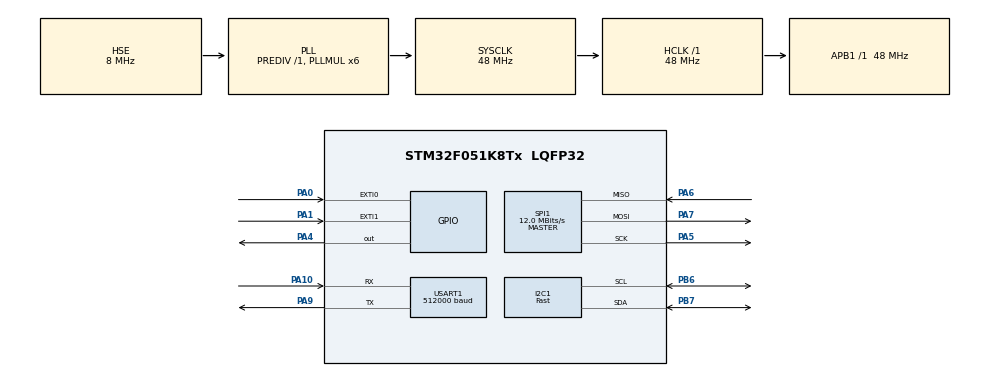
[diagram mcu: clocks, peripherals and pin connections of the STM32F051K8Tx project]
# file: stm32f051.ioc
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Dma.Request0=SPI1_RX
Dma.Request1=SPI1_TX
Dma.Request2=USART1_RX
Dma.Request3=USART1_TX
Dma.SPI1_RX.0.Direction=DMA_PERIPH_TO_MEMORY
Dma.SPI1_RX.0.Instance=DMA1_Channel2
Dma.SPI1_RX.0.MemDataAlignment=DMA_MDATAALIGN_BYTE
Dma.SPI1_RX.0.MemInc=DMA_MINC_ENABLE
Dma.SPI1_RX.0.Mode=DMA_NORMAL
Dma.SPI1_RX.0.PeriphDataAlignment=DMA_PDATAALIGN_BYTE
Dma.SPI1_RX.0.PeriphInc=DMA_PINC_DISABLE
Dma.SPI1_RX.0.Priority=DMA_PRIORITY_MEDIUM
Dma.SPI1_TX.1.Direction=DMA_MEMORY_TO_PERIPH
Dma.SPI1_TX.1.Instance=DMA1_Channel3
Dma.SPI1_TX.1.MemDataAlignment=DMA_MDATAALIGN_BYTE
Dma.SPI1_TX.1.MemInc=DMA_MINC_ENABLE
Dma.SPI1_TX.1.Mode=DMA_NORMAL
Dma.SPI1_TX.1.PeriphDataAlignment=DMA_PDATAALIGN_BYTE
Dma.SPI1_TX.1.PeriphInc=DMA_PINC_DISABLE
Dma.SPI1_TX.1.Priority=DMA_PRIORITY_MEDIUM
Dma.USART1_RX.2.Direction=DMA_PERIPH_TO_MEMORY
Dma.USART1_RX.2.Instance=DMA1_Channel5
Dma.USART1_RX.2.MemDataAlignment=DMA_MDATAALIGN_BYTE
Dma.USART1_RX.2.MemInc=DMA_MINC_ENABLE
Dma.USART1_RX.2.Mode=DMA_NORMAL
Dma.USART1_RX.2.PeriphDataAlignment=DMA_PDATAALIGN_BYTE
Dma.USART1_RX.2.PeriphInc=DMA_PINC_DISABLE
Dma.USART1_RX.2.Priority=DMA_PRIORITY_LOW
Dma.USART1_TX.3.Direction=DMA_MEMORY_TO_PERIPH
Dma.USART1_TX.3.Instance=DMA1_Channel4
Dma.USART1_TX.3.MemDataAlignment=DMA_MDATAALIGN_BYTE
Dma.USART1_TX.3.MemInc=DMA_MINC_ENABLE
Dma.USART1_TX.3.Mode=DMA_NORMAL
Dma.USART1_TX.3.PeriphDataAlignment=DMA_PDATAALIGN_BYTE
Dma.USART1_TX.3.PeriphInc=DMA_PINC_DISABLE
Dma.USART1_TX.3.Priority=DMA_PRIORITY_LOW
I2C1.I2C_Speed_Mode=I2C_Fast
I2C1.Timing=0x0000020B
Mcu.Family=STM32F0
Mcu.Name=STM32F051K8Tx
Mcu.Package=LQFP32
NVIC.DMA1_Channel2_3_IRQn=true\:0\:0\:false\:false\:true\:false\:true
NVIC.DMA1_Channel4_5_IRQn=true\:0\:0\:false\:false\:true\:false\:true
NVIC.EXTI0_1_IRQn=true\:0\:0\:false\:false\:true\:true\:true
NVIC.SPI1_IRQn=true\:0\:0\:false\:false\:true\:true\:true
NVIC.USART1_IRQn=true\:0\:0\:false\:false\:true\:true\:true
PA0.Signal=GPXTI0
PA1.Signal=GPXTI1
PA10.Mode=Asynchronous
PA10.Signal=USART1_RX
PA13.Mode=Serial_Wire
PA13.Signal=SYS_SWDIO
PA14.Mode=Serial_Wire
PA14.Signal=SYS_SWCLK
PA4.Signal=GPIO_Output
PA5.Mode=Full_Duplex_Master
PA5.Signal=SPI1_SCK
PA6.Mode=Full_Duplex_Master
PA6.Signal=SPI1_MISO
PA7.Mode=Full_Duplex_Master
PA7.Signal=SPI1_MOSI
PA9.Mode=Asynchronous
PA9.Signal=USART1_TX
PB6.Mode=I2C
PB6.Signal=I2C1_SCL
PB7.Mode=I2C
PB7.Signal=I2C1_SDA
PF0-OSC_IN.Mode=HSE-External-Oscillator
PF0-OSC_IN.Signal=RCC_OSC_IN
PF1-OSC_OUT.Mode=HSE-External-Oscillator
PF1-OSC_OUT.Signal=RCC_OSC_OUT
ProjectManager.HeapSize=0x200
ProjectManager.StackSize=0x400
ProjectManager.TargetToolchain=MDK-ARM V5
RCC.AHBFreq_Value=48000000
RCC.APB1Freq_Value=48000000
RCC.APB1TimFreq_Value=48000000
RCC.HCLKFreq_Value=48000000
RCC.PLLMUL=RCC_PLL_MUL6
RCC.PLLSourceVirtual=RCC_PLLSOURCE_HSE
RCC.SYSCLKFreq_VALUE=48000000
RCC.SYSCLKSource=RCC_SYSCLKSOURCE_PLLCLK
SPI1.BaudRatePrescaler=SPI_BAUDRATEPRESCALER_4
SPI1.CLKPolarity=SPI_POLARITY_HIGH
SPI1.CalculateBaudRate=12.0 MBits/s
SPI1.DataSize=SPI_DATASIZE_8BIT
SPI1.Direction=SPI_DIRECTION_2LINES
SPI1.Mode=SPI_MODE_MASTER
SPI1.VirtualType=VM_MASTER
USART1.BaudRate=512000
USART1.VirtualMode-Asynchronous=VM_ASYNC
board=custom

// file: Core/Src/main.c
/* USER CODE BEGIN Header */
/**
  ******************************************************************************
  * @file           : main.c
  * @brief          : Main program body
  ******************************************************************************
  * @attention
  *
  * <h2><center>&copy; Copyright (c) 2020 STMicroelectronics.
  * All rights reserved.</center></h2>
  *
  * This software component is licensed by ST under BSD 3-Clause license,
  * the "License"; You may not use this file except in compliance with the
  * License. You may obtain a copy of the License at:
  *                        opensource.org/licenses/BSD-3-Clause
  *
  ******************************************************************************
  */
/* USER CODE END Header */

#include "main.h"
#include "dma.h"
#include "i2c.h"
#include "spi.h"
#include "usart.h"
#include "gpio.h"
#include "inv_app.h"

#include "ano_bbuf.h"
#include "fix16.h"
#ifdef BBINVST
#include "icm42605SelfTest.h"
#endif //BBINVST

#define OPERATION_SUM 0x01
#define OPERATION_SUB 0x02
#define OPERATION_MUL 0x03
#define OPERATION_DIV 0x04

void SystemClock_Config(void);

static void bb_icm42605_serif_init(struct inv_icm426xx_serif * icm_serif);
//BB_INV_BOARD_SPI_DEVICE spi_sel_device;
//void BB_UART_debug(const char *format, ...);
void bb_uart_debug_printer(int level, const char * str, va_list ap);
void Test_Delay_fix16(fix16_t a,fix16_t b,uint8_t def);
void Test_Delay_float(float a,float b,uint8_t def);

int main(void)
{
  /* USER CODE BEGIN 1 */
  //IF Setup
  //struct inv_icm426xx_serif __attribute__((aligned (4))) icm426xx_serif;
  struct inv_icm426xx_serif icm426xx_serif;
//	int32_t datatemp[3] = {0};
//	float temp[3]={0.00123,0.00234,0.00345};
  /* MCU Configuration--------------------------------------------------------*/

  /* Reset of all peripherals, Initializes the Flash interface and the Systick. */
  HAL_Init();

  /* Configure the system clock */
  SystemClock_Config();

  /* Initialize all configured peripherals */
  MX_GPIO_Init();
  MX_DMA_Init();

  MX_USART1_UART_Init();
  /* USER CODE BEGIN 2 */
  //int rc;

/* Setup message facility to see internal traces from FW */
  BB_MSG_SETUP(MSG_LEVEL, bb_uart_debug_printer);

// for debug
// can be removed

//  HAL_GPIO_WritePin(GPIOA, GPIO_PIN_3, GPIO_PIN_RESET);
//  HAL_GPIO_WritePin(GPIOA, GPIO_PIN_2, GPIO_PIN_RESET);

	printf("-----------Calculate Test------------\n");
	float temp_float_a = 123.1415926;
	float temp_float_b = 256.1354678;
//	BB_MSG(BB_MSG_LEVEL_INFO,"Address of TEMP:0x%8x",temp_float_a);
//	BB_MSG(BB_MSG_LEVEL_INFO,"Lenght of TEMP:%d",sizeof(temp_float_a));
//	BB_MSG(BB_MSG_LEVEL_INFO,"TEMP[0]:0x%8x",temp_float_a);
//	BB_MSG(BB_MSG_LEVEL_INFO,"TEMP[1]:0x%8x",temp_float_b);
	fix16_t temp_fix16_a=temp_float_a*65536.0f;
	fix16_t temp_fix16_b=temp_float_b*65536.0f; //trans to q16.16

	BB_MSG(BB_MSG_LEVEL_INFO,"-----------Calculate Float Data-----------");
//	fix16_t testsum=0,testsub=0; //caculate result
	Test_Delay_float(temp_float_a,temp_float_b,OPERATION_SUM);
	Test_Delay_float(temp_float_a,temp_float_b,OPERATION_SUB);
	Test_Delay_float(temp_float_a,temp_float_b,OPERATION_MUL);
	Test_Delay_float(temp_float_a,temp_float_b,OPERATION_DIV);

	BB_MSG(BB_MSG_LEVEL_INFO,"-----------Calculate Q16 Data-------------");
	Test_Delay_fix16(temp_fix16_a,temp_fix16_b,OPERATION_SUM);
	Test_Delay_fix16(temp_fix16_a,temp_fix16_b,OPERATION_SUB);
	Test_Delay_fix16(temp_fix16_a,temp_fix16_b,OPERATION_MUL);
	Test_Delay_fix16(temp_fix16_a,temp_fix16_b,OPERATION_DIV);
	while(1){};

//  while(1)
//  {
//    HAL_GPIO_TogglePin(GPIOA,GPIO_PIN_15);
//    BB_Delay_bytick(1000);
//  }
  //init for icm42605 serif st
  bb_icm42605_serif_init(&icm426xx_serif);
  //setup icm42605
  SetupInvDevice(&icm426xx_serif);
#ifdef BBINVST
  RunSelfTestInv();//run self test for inv
#endif //BBINVST
////  GetInvBias();
  //rc = SetupInvDevice(&icm426xx_serif);
  //check_rc(rc, "error while setting up INV device");

  /* Perform Self-Test */
//  RunSelfTest();

  /* USER CODE END 2 */

//	int tickOver1 = HAL_GetTick()-tickStart;
//	testsub = fix16_sub(datatemp[0],datatemp[1]);
//	int tickOver2 = HAL_GetTick()-tickOver1;

//	HAL_Delay(500);
//	printf("Asub:%f   %dms\n",(float)testsub/65536,tickOver2);

  /* Infinite loop */
  /* USER CODE BEGIN WHILE */
//  while (1)
//  {

//  }
}

//systick_per_us = systick_load * SYSTICK_Frequency / 1000 / 1000;
//systick_per_us = 8000*1000/1000/1000=8；//Change value of 1us sys counter
void Test_Delay_fix16(fix16_t a,fix16_t b,uint8_t def)
{
  uint32_t systick_pre = 0;
  uint32_t systick_now = 0;

  uint32_t delay_total = 0;
  uint8_t systick_per_us = 8;

  //systick_load = HAL_RCC_GetHCLKFreq()/SYSTICK_Frequency;  //8000000/1000=8000
  uint32_t systick_load = 8000;
	fix16_t testvalue=0;
	float testvalue_float = 0;
	float overtime=0;
//	BB_MSG(BB_MSG_LEVEL_INFO,"Address of systick_pre:0x%8x",&systick_pre);
//	BB_MSG(BB_MSG_LEVEL_INFO,"Address of systick_pre:0x%8x",&systick_now);
//	uint16_t start = HAL_GetTick();
	SysTick->VAL = 0xFFFFFF;
	switch(def)
	{
		case OPERATION_SUM:
			systick_pre = SysTick->VAL;
			for(int i=0;i<100;i++)
				testvalue = fix16_add(a,b);  //
			systick_now = SysTick->VAL;
			break;
		case OPERATION_SUB:
			systick_pre = SysTick->VAL;
			for(int i=0;i<100;i++)
				testvalue = fix16_sub(a,b);  //
			systick_now = SysTick->VAL;
			break;
		case OPERATION_MUL:
			systick_pre = SysTick->VAL;
			for(int i=0;i<100;i++)
				testvalue = fix16_mul(a,b);  //
			systick_now = SysTick->VAL;
			break;
		case OPERATION_DIV:
			systick_pre = SysTick->VAL;
			for(int i=0;i<100;i++)
				testvalue = fix16_div(a,b);  //
			systick_now = SysTick->VAL;
			break;
		default :
			break;
	}
//	uint16_t stop = HAL_GetTick();
//	if((stop-start)!=0)
//		BB_MSG(BB_MSG_LEVEL_DEBUG,"flow Over!");

	testvalue_float= (float)(testvalue/(float)(1<<16));

  if (systick_now <= systick_pre)  //no reload for a period
    delay_total = systick_pre-systick_now;
  else
    delay_total = systick_load-(systick_now-systick_pre);
	overtime = (float)delay_total/systick_per_us/1000; //trans us to ms
	switch(def)
	{
		case OPERATION_SUM:
			BB_MSG(BB_MSG_LEVEL_INFO,"OPERATION_SUM=%f  overtime:%f ms\n",testvalue_float,overtime);
			break;
		case OPERATION_SUB:
			BB_MSG(BB_MSG_LEVEL_INFO,"OPERATION_SUB=%f  overtime:%f ms\n",testvalue_float,overtime);
			break;
		case OPERATION_MUL:
			BB_MSG(BB_MSG_LEVEL_INFO,"OPERATION_MUL=%f  overtime:%f ms\n",testvalue_float,overtime);
			break;
		case OPERATION_DIV:
			BB_MSG(BB_MSG_LEVEL_INFO,"OPERATION_DIV=%f  overtime:%f ms\n",testvalue_float,overtime);
			break;
		default:
			break;
	}
}

void Test_Delay_float(float a,float b,uint8_t def)
{
	uint32_t systick_pre = 0;
  uint32_t systick_now = 0;

  uint32_t delay_total = 0;
  uint8_t systick_per_us = 8;

  //systick_load = HAL_RCC_GetHCLKFreq()/SYSTICK_Frequency;  //8000000/1000=8000
  uint32_t systick_load = 8000;
	float testvalue=0;
//	float testvalue_float = 0;
	float overtime=0;
//	BB_MSG(BB_MSG_LEVEL_INFO,"Address of systick_pre:0x%8x",&systick_pre);
//	BB_MSG(BB_MSG_LEVEL_INFO,"Address of systick_pre:0x%8x",&systick_now);
	uint32_t startTick,stopTick;
	SysTick->VAL = 0xFFFFFF;
	switch(def)
	{
		case OPERATION_SUM:

			systick_pre = SysTick->VAL;
//			for(int i=0;i<100;i++)
				testvalue = a+b;  //
			systick_now = SysTick->VAL;
			break;
		case OPERATION_SUB:
			systick_pre = SysTick->VAL;
//			for(int i=0;i<100;i++)
				testvalue = a-b;  //
			systick_now = SysTick->VAL;
			break;
		case OPERATION_MUL:
			startTick = HAL_GetTick();
			systick_pre = SysTick->VAL;
			for(int i=0;i<1000;i++)
				testvalue = a*b;  //
//			HAL_Delay(100);
			systick_now = SysTick->VAL;
			stopTick = HAL_GetTick();
			BB_MSG(BB_MSG_LEVEL_INFO,"Interval time: %d",stopTick-startTick);
			break;
		case OPERATION_DIV:
			systick_pre = SysTick->VAL;
//			for(int i=0;i<100;i++)
				testvalue = a/b;  //
			systick_now = SysTick->VAL;
			break;
		default :
			break;
	}

//	BB_MSG(BB_MSG_LEVEL_DEBUG,"flow Over!");
  if (systick_now <= systick_pre)  //no reload for a period
    delay_total = systick_pre-systick_now;
  else
    delay_total = systick_load-(systick_now-systick_pre);
	overtime = (float)delay_total/systick_per_us/1000; //trans us to ms
	switch(def)
	{
		case OPERATION_SUM:
			BB_MSG(BB_MSG_LEVEL_INFO,"OPERATION_SUM=%f  overtime:%f ms\n",testvalue,overtime);
			break;
		case OPERATION_SUB:
			BB_MSG(BB_MSG_LEVEL_INFO,"OPERATION_SUB=%f  overtime:%f ms\n",testvalue,overtime);
			break;
		case OPERATION_MUL:
			BB_MSG(BB_MSG_LEVEL_INFO,"OPERATION_MUL=%f  overtime:%f ms\n",testvalue,overtime);
			break;
		case OPERATION_DIV:
			BB_MSG(BB_MSG_LEVEL_INFO,"OPERATION_DIV=%f  overtime:%f ms\n",testvalue,overtime);
			break;
		default:
			break;
	}
}

void SystemClock_Config(void)
{
  RCC_OscInitTypeDef RCC_OscInitStruct = {0};
  RCC_ClkInitTypeDef RCC_ClkInitStruct = {0};
  RCC_PeriphCLKInitTypeDef PeriphClkInit = {0};

  /** Initializes the CPU, AHB and APB busses clocks
  */
  RCC_OscInitStruct.OscillatorType = RCC_OSCILLATORTYPE_HSI|RCC_OSCILLATORTYPE_HSE;
  RCC_OscInitStruct.HSEState = RCC_HSE_ON;
  RCC_OscInitStruct.HSIState = RCC_HSI_ON;
  RCC_OscInitStruct.HSICalibrationValue = RCC_HSICALIBRATION_DEFAULT;
  RCC_OscInitStruct.PLL.PLLState = RCC_PLL_ON;
  RCC_OscInitStruct.PLL.PLLSource = RCC_PLLSOURCE_HSE;
  RCC_OscInitStruct.PLL.PLLMUL = RCC_PLL_MUL6;
  RCC_OscInitStruct.PLL.PREDIV = RCC_PREDIV_DIV1;
  if (HAL_RCC_OscConfig(&RCC_OscInitStruct) != HAL_OK)
  {
    Error_Handler();
  }
  /** Initializes the CPU, AHB and APB busses clocks
  */
  RCC_ClkInitStruct.ClockType = RCC_CLOCKTYPE_HCLK|RCC_CLOCKTYPE_SYSCLK
                              |RCC_CLOCKTYPE_PCLK1;
  RCC_ClkInitStruct.SYSCLKSource = RCC_SYSCLKSOURCE_PLLCLK;
  RCC_ClkInitStruct.AHBCLKDivider = RCC_SYSCLK_DIV1;
  RCC_ClkInitStruct.APB1CLKDivider = RCC_HCLK_DIV1;

  if (HAL_RCC_ClockConfig(&RCC_ClkInitStruct, FLASH_LATENCY_1) != HAL_OK)
  {
    Error_Handler();
  }
  PeriphClkInit.PeriphClockSelection = RCC_PERIPHCLK_USART1|RCC_PERIPHCLK_I2C1;
  PeriphClkInit.Usart1ClockSelection = RCC_USART1CLKSOURCE_PCLK1;
  PeriphClkInit.I2c1ClockSelection = RCC_I2C1CLKSOURCE_HSI;
  if (HAL_RCCEx_PeriphCLKConfig(&PeriphClkInit) != HAL_OK)
  {
    Error_Handler();
  }
}

/* USER CODE BEGIN 4 */

/**
  * @brief This function configures the source of the time base.
  *        The time source is configured  to have 1ms time base with a dedicated
  *        Tick interrupt priority.
  * @note This function is called  automatically at the beginning of program after
  *       reset by HAL_Init() or at any time when clock is reconfigured  by HAL_RCC_ClockConfig().
  * @note In the default implementation, SysTick timer is the source of time base.
  *       It is used to generate interrupts at regular time intervals.
  *       Care must be taken if HAL_Delay() is called from a peripheral ISR process,
  *       The SysTick interrupt must have higher priority (numerically lower)
  *       than the peripheral interrupt. Otherwise the caller ISR process will be blocked.
  *       The function is declared as __Weak  to be overwritten  in case of other
  *       implementation  in user file.
  * @param TickPriority Tick interrupt priority.
  * @retval HAL status
  */
HAL_StatusTypeDef HAL_InitTick(uint32_t TickPriority)
{
  /*Configure the SysTick to have interrupt in 1ms time basis*/
  if (HAL_SYSTICK_Config(SystemCoreClock / (BBSYSFRAC / uwTickFreq)) > 0U)
  {
    return HAL_ERROR;
  }

  /* Configure the SysTick IRQ priority */
  if (TickPriority < (1UL << __NVIC_PRIO_BITS))
  {
    HAL_NVIC_SetPriority(SysTick_IRQn, TickPriority, 0U);
    uwTickPrio = TickPriority;
  }
  else
  {
    return HAL_ERROR;
  }

   /* Return function status */
  return HAL_OK;
}

/**
  * @brief This function provides accurate delay (in milliseconds) based
  *        on variable incremented.
  * @note In the default implementation , SysTick timer is the source of time base.
  *       It is used to generate interrupts at regular time intervals where uwTick
  *       is incremented.
  * @note ThiS function is declared as __weak to be overwritten in case of other
  *       implementations in user file.
  * @param Delay specifies the delay time length, in milliseconds.
  * @retval None
  */
void BB_Delay_bytick(uint32_t Delay)
{
  uint32_t tickstart = HAL_GetTick();
  uint32_t wait = Delay;

  /* Add a freq to guarantee minimum wait */
  if (wait < HAL_MAX_DELAY)
  {
    wait += (uint32_t)(uwTickFreq);
  }

  while((HAL_GetTick() - tickstart) < wait)
  {
  }
}

/**
  * @brief  This function configures:
 *  - ICM42605 Struct SETUP
 *  - a serial link to communicate from MCU to Icm426xx
 *  - setup Txbuff and Rxbuff for reg read
 *  - setup max_read and max_write for icm42605 internal FIFO read
 *  @
  * @retval None
  */
void bb_icm42605_serif_init(struct inv_icm426xx_serif * icm_serif)
{
  BB_MSG(BB_MSG_LEVEL_DEBUG, "#ICM42605 Struct SETUP#");

  uint8_t temp_txarray[ICM4_REGWRMAX] = {0};
  uint8_t temp_rxarray[ICM4_REGRDMAX] = {0};

  /* Initialize serial inteface between MCU and Icm426xx */
  icm_serif->context   = 0;        /* no need */
  icm_serif->read_reg  = inv_io_hal_read_reg;
  icm_serif->write_reg = inv_io_hal_write_reg;
  icm_serif->max_read  = 1024*32;  /* maximum number of bytes allowed per serial read */
  icm_serif->max_write = 1024*32;  /* maximum number of bytes allowed per serial write */
  icm_serif->serif_type = ICM_SERIF_TYPE;
  if(ICM_SERIF_TYPE == ICM426XX_UI_SPI4)
    {
      BB_MSG(BB_MSG_LEVEL_INFO,"ICM Serif is SPI4.SET PA4(SPICS) to HIGH and Init SPI");
      BB_SPI_CS_DISABLE(BB_ICM42605);
      MX_SPI1_Init();
    }
  else if(ICM_SERIF_TYPE == ICM426XX_UI_I2C)
    {
      BB_MSG(BB_MSG_LEVEL_INFO,"ICM Serif is I2C");
      MX_I2C1_Init();
    }
  //else if(ICM_SERIF_TYPE == ICM426XX_UI_SPI4)
  else
    BB_MSG(BB_MSG_LEVEL_ERROR,"ICM Serif define is not valid");

  memcpy(icm_serif->Txbuff, temp_txarray, ICM4_REGWRMAX*sizeof(uint8_t));
  memcpy(icm_serif->Rxbuff, temp_rxarray, ICM4_REGRDMAX*sizeof(uint8_t));
  BB_MSG(BB_MSG_LEVEL_DEBUG, "#ICM42605 Struct SETUP DONE#");
  // BB_MSG(BB_MSG_LEVEL_DEBUG, "Sizeof icmserif struct: %d",sizeof(*icm_serif));
  // BB_MSG(BB_MSG_LEVEL_DEBUG, "icm_serif address:  0x%8x",icm_serif);
  // BB_MSG(BB_MSG_LEVEL_DEBUG, "context address:    0x%8x",&icm_serif->context);
  // BB_MSG(BB_MSG_LEVEL_DEBUG, "read_reg address:   0x%8x",&icm_serif->read_reg);
  // BB_MSG(BB_MSG_LEVEL_DEBUG, "write_reg address:  0x%8x",&icm_serif->write_reg);
  // BB_MSG(BB_MSG_LEVEL_DEBUG, "configure address:  0x%8x",&icm_serif->configure);
  // BB_MSG(BB_MSG_LEVEL_DEBUG, "max_read address:   0x%8x",&icm_serif->max_read);
  // BB_MSG(BB_MSG_LEVEL_DEBUG, "max_write address:  0x%8x",&icm_serif->max_write);

  // BB_MSG(BB_MSG_LEVEL_DEBUG, "Rxbuff address:     0x%8x",&icm_serif->Rxbuff);
  // BB_MSG(BB_MSG_LEVEL_DEBUG, "Txbuff address:     0x%8x",&icm_serif->Txbuff);

  // BB_MSG(BB_MSG_LEVEL_DEBUG, "serif_type address: 0x%8x",&icm_serif->serif_type);
}

/**
  * @brief  This function realized the debug printer
  *
  * @retval None
**/
void bb_uart_debug_printer(int level, const char * str, va_list ap)
{

  static char out_str[128]; /* static to limit stack usage */
  uint16_t idx = 0;

  const char * s[BB_MSG_LEVEL_MAX] = {
      "",    // INV_MSG_LEVEL_OFF
      "[E]", // INV_MSG_LEVEL_ERROR
      "[W]", // INV_MSG_LEVEL_WARNING
      "[I]", // INV_MSG_LEVEL_INFO
      "[V]", // INV_MSG_LEVEL_VERBOSE
      "[D]", // INV_MSG_LEVEL_DEBUG
  };

  //put the while code before to change the out_str
  while(huart1.gState!=HAL_UART_STATE_READY);
  idx += snprintf(&out_str[idx], sizeof(out_str) - idx, "%s: ", s[level]);
  if(idx >= (sizeof(out_str)))
    return;
  idx += vsnprintf(&out_str[idx], sizeof(out_str) - idx, str, ap);
  if(idx >= (sizeof(out_str)))
    return;
  idx += snprintf(&out_str[idx], sizeof(out_str) - idx, "\r\n");
  if(idx >= (sizeof(out_str)))
    return;

  while(HAL_UART_Transmit_DMA(&huart1,(uint8_t*)out_str,idx)!=HAL_OK);
}

/* USER CODE END 4 */

void Error_Handler(void)
{
}

#ifdef  USE_FULL_ASSERT
/**
  * @brief  Reports the name of the source file and the source line number
  *         where the assert_param error has occurred.
  * @param  file: pointer to the source file name
  * @param  line: assert_param error line source number
  * @retval None
  */
void assert_failed(uint8_t *file, uint32_t line)
{
  /* USER CODE BEGIN 6 */
  /* User can add his own implementation to report the file name and line number,
     tex: printf("Wrong parameters value: file %s on line %d\r\n", file, line) */
  BB_MSG(BB_MSG_LEVEL_ERROR,"Wrong parameters: file %s on line %d",file,line);
  while(1)
  {
    //also can add sth to do.
  }
  /* USER CODE END 6 */
}
// redirect printf()
int fputc(int ch,FILE *f)
{
    uint8_t temp[1]={ch};
    HAL_UART_Transmit(&huart1,temp,1,2);
	return 0;
}
#endif /* USE_FULL_ASSERT */

/************************ (C) COPYRIGHT BeyondBit *****END OF FILE****/
